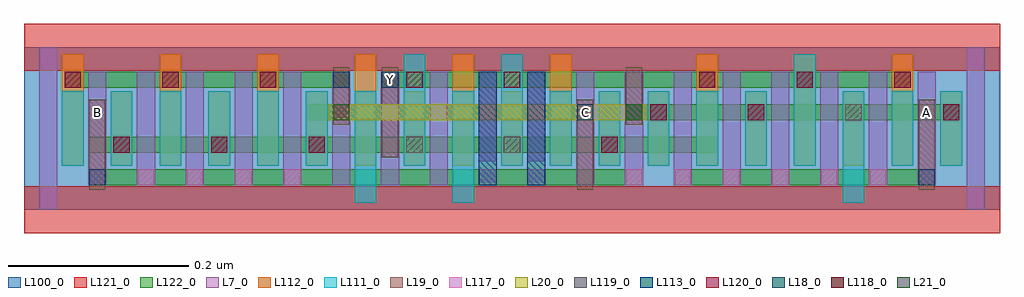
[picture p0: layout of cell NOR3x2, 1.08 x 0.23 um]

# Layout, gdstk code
import gdstk
lib = gdstk.Library(unit=1e-6, precision=2.5e-10)
def R(c, l, rs):  # rectangles x0, y0, x1, y1
    for r in rs: c.add(gdstk.rectangle(r[:2], r[2:], *l))
def A(c, l, x, y, w, h, nx, ny, dx, dy):  # array of equal rectangles
    R(c, l, [(x+i*dx, y+j*dy, x+i*dx+w, y+j*dy+h) for i in range(nx) for j in range(ny)])
L7_0 = (7, 0)
L18_0 = (18, 0)
L19_0 = (19, 0)
L20_0 = (20, 0)
L21_0 = (21, 0)
L100_0 = (100, 0)
L111_0 = (111, 0)
L112_0 = (112, 0)
L113_0 = (113, 0)
L117_0 = (117, 0)
L118_0 = (118, 0)
L119_0 = (119, 0)
L120_0 = (120, 0)
L121_0 = (121, 0)
L122_0 = (122, 0)

nor3x2 = lib.new_cell('NOR3x2')
A(nor3x2, L7_0, 0.071, 0.027, 0.02, 0.126, 8, 1, 0.054, 0)
A(nor3x2, L7_0, 0.611, 0.027, 0.02, 0.126, 8, 1, 0.054, 0)
R(nor3x2, L7_0, [(0.017,0,0.037,0.18), (1.043,0,1.063,0.18), (0.503,0.054,0.523,0.153), (0.557,0.054,0.577,0.153)])
R(nor3x2, L18_0, [(0.072,0.027,0.09,0.045), (0.99,0.027,1.008,0.045), (0.612,0.099,0.63,0.117), (0.666,0.099,0.684,0.117), (0.342,0.135,0.36,0.153), (0.396,0.135,0.414,0.153)])
R(nor3x2, L19_0, [(0.072,0.022,0.09,0.122), (0.612,0.022,0.63,0.122), (0.99,0.022,1.008,0.122), (0.396,0.058,0.414,0.158), (0.342,0.094,0.36,0.158), (0.666,0.094,0.684,0.158)])
R(nor3x2, L20_0, [(0.337,0.099,0.689,0.117)])
R(nor3x2, L21_0, [(0.342,0.099,0.36,0.117), (0.666,0.099,0.684,0.117)])
R(nor3x2, L100_0, [(0,0,1.08,0.18)])
A(nor3x2, L111_0, 0.042, 0.049, 0.024, 0.082, 6, 1, 0.054, 0)
A(nor3x2, L111_0, 0.582, 0.049, 0.024, 0.082, 5, 1, 0.054, 0)
R(nor3x2, L111_0, [(0.366,0.008,0.39,0.131), (0.474,0.008,0.498,0.131), (0.906,0.008,0.93,0.131), (0.42,0.049,0.444,0.172), (0.528,0.049,0.552,0.172), (0.852,0.049,0.876,0.172), (0.96,0.049,0.984,0.131), (1.014,0.049,1.038,0.131)])
A(nor3x2, L112_0, 0.042, 0.049, 0.024, 0.123, 6, 1, 0.108, 0)
A(nor3x2, L112_0, 0.096, 0.049, 0.024, 0.082, 6, 1, 0.108, 0)
A(nor3x2, L112_0, 0.69, 0.049, 0.024, 0.082, 4, 1, 0.108, 0)
A(nor3x2, L112_0, 0.744, 0.049, 0.024, 0.123, 3, 1, 0.108, 0)
R(nor3x2, L113_0, [(0.503,0.027,0.523,0.153), (0.557,0.027,0.577,0.153)])
A(nor3x2, L117_0, 0.072, 0.027, 0.018, 0.018, 5, 1, 0.054, 0)
A(nor3x2, L117_0, 0.666, 0.027, 0.018, 0.018, 7, 1, 0.054, 0)
A(nor3x2, L117_0, 0.342, 0.099, 0.018, 0.018, 6, 1, 0.054, 0)
R(nor3x2, L117_0, [(0.504,0.027,0.522,0.045), (0.558,0.027,0.576,0.045)])
R(nor3x2, L118_0, [(0.423,0.135,0.441,0.153), (0.531,0.135,0.549,0.153)])
A(nor3x2, L119_0, 0.099, 0.063, 0.018, 0.018, 6, 1, 0.108, 0)
A(nor3x2, L119_0, 0.693, 0.099, 0.018, 0.018, 4, 1, 0.108, 0)
A(nor3x2, L119_0, 0.045, 0.135, 0.018, 0.018, 3, 1, 0.108, 0)
A(nor3x2, L119_0, 0.747, 0.135, 0.018, 0.018, 3, 1, 0.108, 0)
A(nor3x2, L120_0, 0.099, 0.063, 0.018, 0.018, 3, 1, 0.108, 0)
A(nor3x2, L120_0, 0.045, 0.135, 0.018, 0.018, 3, 1, 0.108, 0)
A(nor3x2, L120_0, 0.747, 0.135, 0.018, 0.018, 3, 1, 0.108, 0)
R(nor3x2, L120_0, [(0.639,0.063,0.657,0.081), (0.693,0.099,0.711,0.117), (0.801,0.099,0.819,0.117), (1.017,0.099,1.035,0.117)])
R(nor3x2, L121_0, [(0,-0.026,1.08,0.026), (0,0.154,1.08,0.206)])
R(nor3x2, L122_0, [(0.072,0.027,0.684,0.045), (0.72,0.027,1.008,0.045), (0.072,0.063,0.765,0.081), (0.315,0.099,0.63,0.117), (0.666,0.099,1.035,0.117), (0.045,0.135,0.36,0.153), (0.396,0.135,0.981,0.153)])
nor3x2.add(gdstk.Label('Y', (0.405,0.144), layer=19, texttype=251))
nor3x2.add(gdstk.Label('C', (0.621,0.108), layer=19, texttype=251))
nor3x2.add(gdstk.Label('B', (0.081,0.108), layer=19, texttype=251))
nor3x2.add(gdstk.Label('A', (0.999,0.108), layer=19, texttype=251))

lib.write_gds('NOR3x2.gds')
